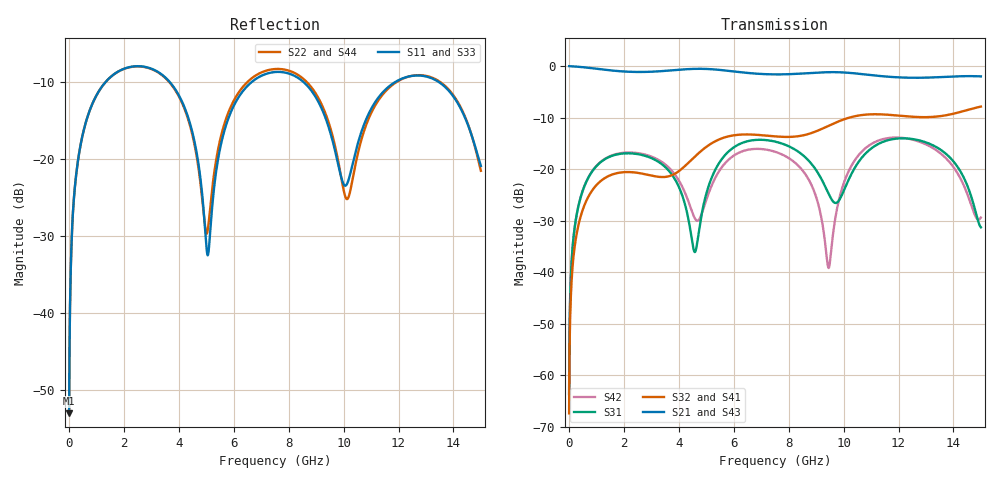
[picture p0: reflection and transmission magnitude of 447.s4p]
! Created with skrf 1.8.0 (http://scikit-rf.org).
# GHz S RI R 50.0
!freq ReS11 ImS11 ReS12 ImS12 ReS13 ImS13
! ReS14 ImS14
! ReS21 ImS21 ReS22 ImS22 ReS23 ImS23
! ReS24 ImS24
! ReS31 ImS31 ReS32 ImS32 ReS33 ImS33
! ReS34 ImS34
! ReS41 ImS41 ReS42 ImS42 ReS43 ImS43
! ReS44 ImS44
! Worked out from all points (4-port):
!   2499 points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, 5 MHz to 15 GHz, reference 50 ohm
!   strongest paths, dB at 5 MHz, 3.476 GHz, 7.19 GHz, 11.1 GHz, 15 GHz:
!     S21: 0.0, -0.9, -1.6, -1.8, -2.0
!     S43: 0.0, -0.9, -1.6, -1.8, -2.0
!     S32: -67.4, -21.5, -13.5, -9.3, -7.9
!     S41: -67.4, -21.6, -13.5, -9.3, -7.9
!     S31: -63.7, -19.5, -14.4, -15.6, -31.3
!     S42: -63.7, -19.0, -16.2, -14.9, -29.4
!   lowest |S11| = -53.0 dB at 5 MHz (marker M1), VSWR 1.00, Z = 50.2 + j0.137 ohm
!   |S11| at or under -10 dB: 3.66 GHz to 6.666 GHz (3.006 GHz wide, 58.2 % of centre); 8.528 GHz to 11.9 GHz (3.37 GHz wide, 33 % of centre); 13.45 GHz to end of sweep (the widest 3 of 4)
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0.005  0.00178 0.00136  0.9982 -0.00347  8.8e-05 0.000651  -8.58e-05 -0.000417
       0.9982 -0.00347  0.00178 0.00136  -8.58e-05 -0.000417  8.81e-05 0.00065
       8.8e-05 0.000651  -8.58e-05 -0.000417  0.00178 0.00136  0.9982 -0.00347
       -8.58e-05 -0.000417  8.81e-05 0.00065  0.9982 -0.00347  0.00178 0.00136
0.3626511  0.0349 0.1013  0.952 -0.2474  0.0153 0.0434  -0.013 -0.0271
           0.952 -0.2474  0.0348 0.1013  -0.013 -0.0271  0.0157 0.0433
           0.0153 0.0434  -0.013 -0.0271  0.0348 0.1013  0.952 -0.2474
           -0.013 -0.0271  0.0157 0.0433  0.952 -0.2474  0.0348 0.1013
1.619545  0.3126 0.1608  0.457 -0.7785  0.1281 0.0459  -0.089 0.00778
          0.457 -0.7785  0.3114 0.1618  -0.0891 0.00785  0.1317 0.0395
          0.1281 0.0459  -0.0891 0.00785  0.3126 0.1609  0.4569 -0.7785
          -0.089 0.00778  0.1317 0.0395  0.4569 -0.7785  0.3114 0.1617
5.052105  0.0237 -0.00125  -0.9358 -0.0429  0.0336 0.0548  -0.00316 0.168
          -0.9358 -0.0429  0.0334 0.00887  -0.00235 0.1681  -0.0208 0.051
          0.0336 0.0548  -0.00235 0.1681  0.023 -0.00119  -0.9358 -0.0427
          -0.00316 0.168  -0.0208 0.051  -0.9358 -0.0427  0.034 0.00901
7.640684  0.3662 0.00285  -0.0635 0.8283  0.1463 -0.1065  0.2003 -0.0465
          -0.0635 0.8283  0.3823 -0.0163  0.2008 -0.0485  0.1364 -0.0432
          0.1463 -0.1065  0.2008 -0.0485  0.3657 0.00567  -0.0634 0.8283
          0.2003 -0.0465  0.1364 -0.0432  -0.0634 0.8283  0.3827 -0.019
10.42935  0.0869 0.0671  0.8464 -0.0674  0.0337 0.0996  -0.043 -0.3244
          0.8464 -0.0674  0.0721 0.056  -0.0471 -0.3234  0.0631 0.1069
          0.0337 0.0996  -0.0471 -0.3234  0.0914 0.068  0.8461 -0.0681
          -0.043 -0.3244  0.0631 0.1069  0.8461 -0.0681  0.0683 0.0586
15  0.0813 -0.0386  -0.7506 -0.2596  -0.0239 0.0131  -0.1279 0.3841
    -0.7506 -0.2596  0.0717 -0.0432  -0.1211 0.3861  -0.0241 0.0238
    -0.0239 0.0131  -0.1211 0.3861  0.0862 -0.0446  -0.7493 -0.2619
    -0.1279 0.3841  -0.0241 0.0238  -0.7493 -0.2619  0.0717 -0.0497
